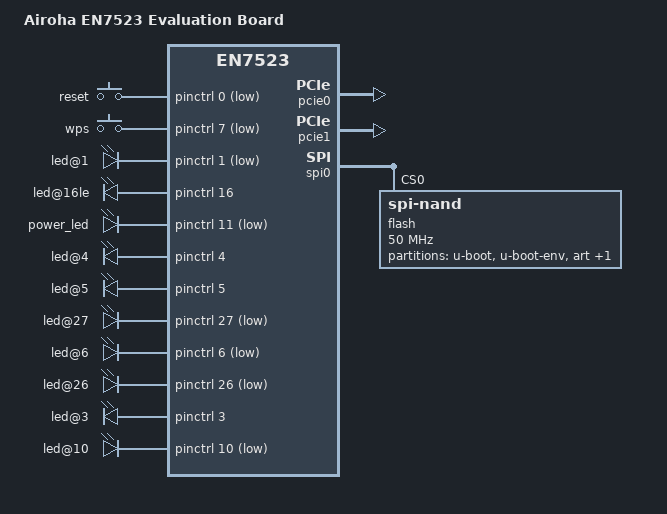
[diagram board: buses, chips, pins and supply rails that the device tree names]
// SPDX-License-Identifier: (GPL-2.0-only OR BSD-2-Clause)
/dts-v1/;

#include <dt-bindings/leds/common.h>
#include <dt-bindings/gpio/gpio.h>
#include <dt-bindings/input/input.h>
#include "en7523.dtsi"

/ {
	model = "Airoha EN7523 Evaluation Board";
	compatible = "airoha,en7523-evb", "airoha,en7523";

	chosen {
		bootargs = "console=ttyS0,115200 earlycon";
		stdout-path = "serial0:115200n8";
		linux,usable-memory-range = <0x80200000 0x1fe00000>;
	};

	aliases {
		serial0 = &uart1;
		led-boot = &power_led;
		led-failsafe = &power_led;
		led-upgrade = &power_led;
		led-running = &power_led;
	};

	keys {
		compatible = "gpio-keys-polled";
		poll-interval = <100>;

		reset {
			label = "reset";
			linux,code = <KEY_RESTART>;
			gpios = <&pinctrl 0 GPIO_ACTIVE_LOW>;
			debounce-interval = <60>;
		};

		wps {
			label = "wps";
			linux,code = <KEY_WPS_BUTTON>;
			gpios = <&pinctrl 7 GPIO_ACTIVE_LOW>;
			debounce-interval = <60>;
		};
	};

	leds {
		compatible = "gpio-leds";

		// internet
		led@1 {
			gpios = <&pinctrl 1 GPIO_ACTIVE_LOW>;
			function = LED_FUNCTION_WAN_ONLINE;
			function-enumerator = <1>;
		};
		
		// phy_tx_power_disable
		led@16le {
			gpios = <&pinctrl 16 GPIO_ACTIVE_HIGH>;
			function = LED_FUNCTION_STATUS;
			function-enumerator = <16>;
		};
		
		// power
		power_led: led@11 {
			gpios = <&pinctrl 11 GPIO_ACTIVE_LOW>;
			function = LED_FUNCTION_STATUS;
			function-enumerator = <11>;
		};
		
		// usb_0
		led@4 {
			gpios = <&pinctrl 4 GPIO_ACTIVE_HIGH>;
			function = LED_FUNCTION_USB;
			function-enumerator = <4>;
		};
		
		// voip_hook
		led@5 {
			gpios = <&pinctrl 5 GPIO_ACTIVE_HIGH>;
			function = LED_FUNCTION_STATUS;
			function-enumerator = <5>;
		};
		
		// voip_hook2
		led@27 {
			gpios = <&pinctrl 27 GPIO_ACTIVE_LOW>;
			function = LED_FUNCTION_STATUS;
			function-enumerator = <27>;
		};
		
		// wlan
		led@6 {
			gpios = <&pinctrl 6 GPIO_ACTIVE_LOW>;
			function = LED_FUNCTION_WLAN;
			function-enumerator = <6>;
		};
		
		// wps
		led@26 {
			gpios = <&pinctrl 26 GPIO_ACTIVE_LOW>;
			function = LED_FUNCTION_WPS;
			function-enumerator = <26>;
		};
		
		// xponLos
		led@3 {
			gpios = <&pinctrl 3 GPIO_ACTIVE_HIGH>;
			function = LED_FUNCTION_STATUS;
			function-enumerator = <3>;
		};
		
		// xponStatus
		led@10 {
			gpios = <&pinctrl 10 GPIO_ACTIVE_LOW>;
			function = LED_FUNCTION_STATUS;
			function-enumerator = <10>;
		};
	};
};

&pcie0 {
	status = "okay";
};

&pcie1 {
	status = "okay";
};

&spi0 {
	flash@0 {
		reg = <0>;
		compatible = "spi-nand";
		spi-max-frequency = <50000000>;
		spi-tx-bus-width = <1>;
		spi-rx-bus-width = <2>;

		partitions {
			compatible = "fixed-partitions";
			#address-cells = <1>;
			#size-cells = <1>;

			partition@0 {
				label = "u-boot";
				reg = <0x0 0x7C000>;
				read-only;
			};

			partition@1 {
				label = "u-boot-env";
				reg = <0x7C000 0x4000>;
			};

			partition@2 {
				label = "art";
				reg = <0x80000 0x40000>;
				read-only;
			};

			partition@3 {
				label = "firmware";
				reg = <0xC0000 0xDF40000>;
			};
		};
	};
};
